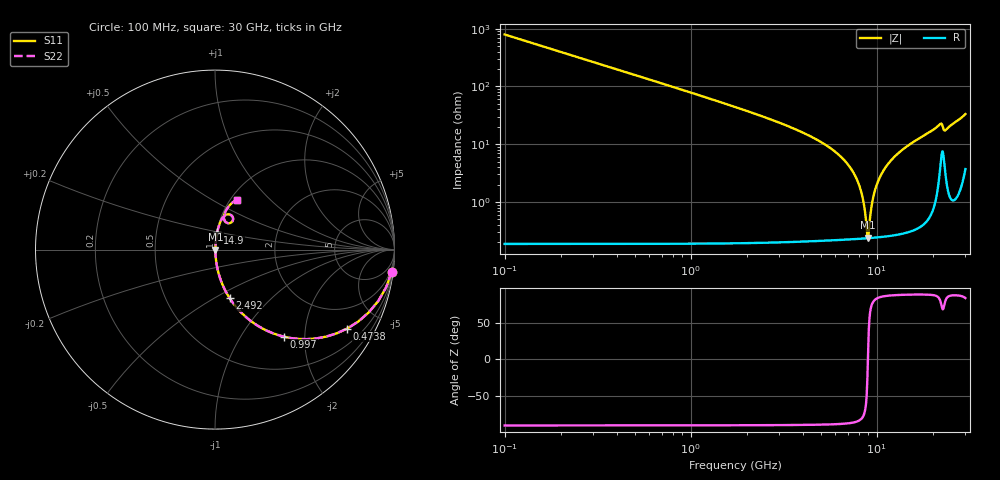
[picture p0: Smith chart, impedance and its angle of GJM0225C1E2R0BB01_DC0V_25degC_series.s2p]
!Murata Part Number: GJM0225C1E2R0BB01
!These Parameters are Measured in Series Mode Connection
!  o--ll--o
!Port1  Port2
!  o------o
!Operation Temp=25[degC], DC Bias Voltage=0[V]
!Freq. Start=100[MHz] Stop=30[GHz], 401[Steps]
!Data Generated on Feb 1, 2023
# Hz S RI R 50
!Freq.(Hz) S11(Real) S11(Imag) S21(Real) S21(Imag) S12(Real) S12(Imag) S22(Real) S22(Imag)
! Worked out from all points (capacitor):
!   401 points, 100 MHz to 30 GHz, reference 50 ohm
!   read as one part in series: C = 2 pF near 249.5 MHz
!   lowest |Z| = 239 mohm at 8.995 GHz (marker M1)
!   series resonance near 8.974 GHz, so ESL is about 160 pH
!   S11 on the Smith chart (normalised r, x): 100 MHz: 1, -16; 473.8 MHz: 1.00, -3.35; 997 MHz: 1.00, -1.58; 2.492 GHz: 1.00, -0.59; 14.9 GHz: 1.01, +0.19; 30 GHz: 1.07, +0.66
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1e8  0.9844 -0.1237  0.0156 0.1237  0.0156 0.1237  0.9844 -0.1237
4.7375e8  0.737 -0.4397  0.263 0.4397  0.263 0.4397  0.737 -0.4397
9.97e8  0.3836 -0.4851  0.6164 0.4851  0.6164 0.4851  0.3836 -0.4851
1.595e9  0.1903 -0.3905  0.8097 0.3905  0.8097 0.3905  0.1903 -0.3905
2.492e9  0.0815 -0.2702  0.9185 0.2702  0.9185 0.2702  0.0815 -0.2702
5.10825e9  0.0131 -0.1039  0.9869 0.1039  0.9869 0.1039  0.0131 -0.1039
6.75275e9  0.00482 -0.051  0.9952 0.051  0.9952 0.051  0.00482 -0.051
7.79925e9  0.0029 -0.025  0.9971 0.025  0.9971 0.025  0.0029 -0.025
8.39725e9  0.00245 -0.0118  0.9975 0.0118  0.9975 0.0118  0.00245 -0.0118
8.6215e9  0.00238 -0.00712  0.9976 0.00712  0.9976 0.00712  0.00238 -0.00712
8.84575e9  0.00235 -0.00256  0.9977 0.00256  0.9977 0.00256  0.00235 -0.00256
8.99525e9  0.00235 0.000426  0.9976 -0.000426  0.9976 -0.000426  0.00235 0.000426
9.5185e9  0.0025 0.0105  0.9975 -0.0105  0.9975 -0.0105  0.0025 0.0105
1.01165e10  0.00289 0.0214  0.9971 -0.0214  0.9971 -0.0214  0.00289 0.0214
1.183575e10  0.0051 0.0502  0.9949 -0.0502  0.9949 -0.0502  0.0051 0.0502
1.49005e10  0.0122 0.0954  0.9878 -0.0954  0.9878 -0.0954  0.0122 0.0954
1.505e10  0.0127 0.0975  0.9873 -0.0975  0.9873 -0.0975  0.0127 0.0975
2.005825e10  0.0366 0.1684  0.9634 -0.1684  0.9634 -0.1684  0.0366 0.1684
2.20765e10  0.0853 0.1943  0.9147 -0.1943  0.9147 -0.1943  0.0853 0.1943
2.319775e10  0.064 0.1504  0.936 -0.1504  0.936 -0.1504  0.064 0.1504
2.50665e10  0.053 0.1991  0.947 -0.1991  0.947 -0.1991  0.053 0.1991
3e10  0.1248 0.2791  0.8752 -0.2791  0.8752 -0.2791  0.1248 0.2791
